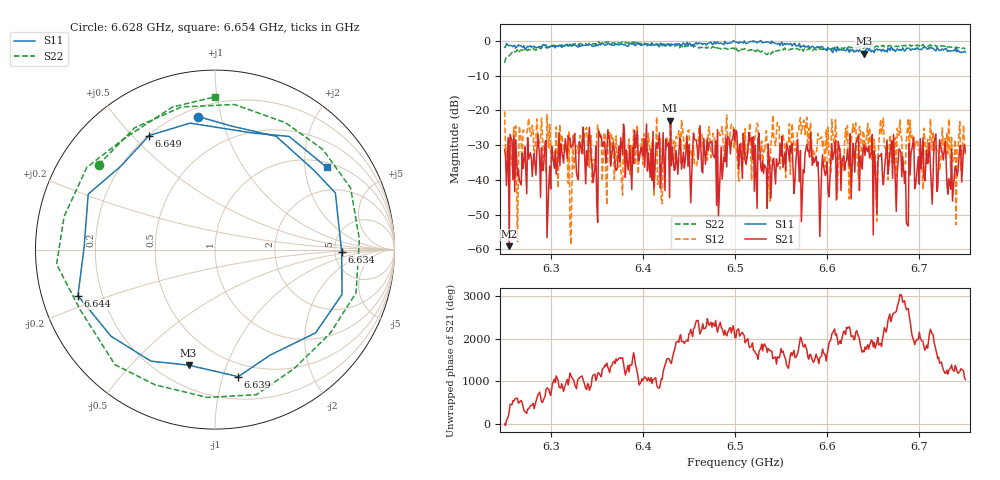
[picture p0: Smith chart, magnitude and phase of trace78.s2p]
# Hz S RI R 50
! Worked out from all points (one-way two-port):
!   401 points, 6.25 GHz to 6.75 GHz, reference 50 ohm
!   highest |S21| = -22.91 dB at 6.43 GHz (marker M1); lowest = -59.1 dB at 6.255 GHz (marker M2)
!   lowest |S11| = -3.6 dB at 6.64 GHz (marker M3), VSWR 4.89, Z = 16.3 - j37.2 ohm
!   |S11| at or under -10 dB: nowhere
!   |S22| runs from -6.2 to -0.1 dB; largest |S21 - S12| = 0.12
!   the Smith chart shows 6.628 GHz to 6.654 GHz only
!   S11 on the Smith chart (normalised r, x): 6.628 GHz: 0.25, +0.85; 6.634 GHz: 5.79, -0.34; 6.639 GHz: 0.38, -1.12; 6.644 GHz: 0.11, -0.16; 6.649 GHz: 0.20, +0.56; 6.654 GHz: 1.14, +2.60
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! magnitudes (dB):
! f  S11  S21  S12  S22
! 6.25 GHz  -1.8  -31.2  -20.3  -6.2
! 6.255 GHz  -1.3  -59.1  -27.8  -4.3
! 6.312 GHz  -1.8  -31.7  -27.0  -1.1
! 6.32 GHz  -1.3  -28.3  -25.9  -1.1
! 6.334 GHz  -1.1  -32.4  -28.6  -0.9
! 6.349 GHz  -0.7  -30.2  -37.7  -1.0
! 6.355 GHz  -0.9  -27.4  -28.2  -0.7
! 6.418 GHz  -1.6  -26.5  -38.7  -0.8
! 6.43 GHz  -1.3  -22.9  -24.2  -1.4
! 6.5 GHz  -0.2  -28.9  -25.9  -2.6
! 6.584 GHz  -1.4  -35.8  -34.4  -2.8
! 6.628 GHz  -2.5  -29.5  -24.0  -1.9
! 6.634 GHz  -3.0  -27.0  -39.6  -1.7
! 6.639 GHz  -2.9  -31.1  -25.8  -2.0
! 6.64 GHz  -3.6  -29.9  -27.1  -2.0
! 6.644 GHz  -1.9  -31.9  -23.7  -1.7
! 6.649 GHz  -2.7  -26.9  -29.4  -1.3
! 6.654 GHz  -2.2  -49.9  -51.9  -1.4
! 6.668 GHz  -2.7  -32.7  -27.0  -1.2
! 6.685 GHz  -2.7  -37.5  -35.4  -1.4
! 6.691 GHz  -2.6  -32.2  -28.0  -1.5
! 6.75 GHz  -3.2  -31.9  -32.7  -2.2
